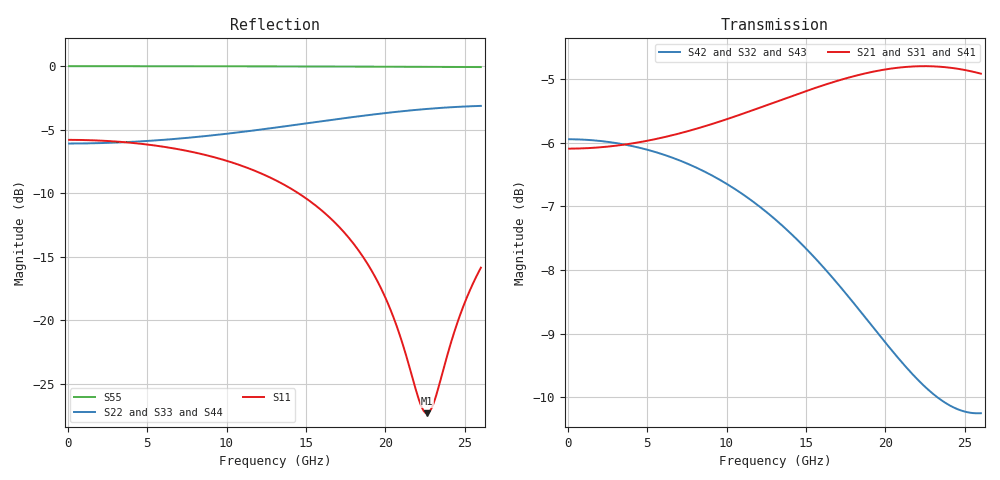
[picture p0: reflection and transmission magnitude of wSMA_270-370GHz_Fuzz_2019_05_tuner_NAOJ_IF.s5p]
! Touchstone file exported from HFSS 2019.1.0
!  File:  D:/pgrimes/HFSS/Mixers/270-370GHz_wSMA_Fuzz_2019_05_tuner.aedt
!  Generated:  4:21:00 PM  Jun 19, 2019
!  Design:  270-370GHz
!  Project:  270-370GHz_wSMA_Fuzz_2019_05_tuner
!  Setup:  SetupIF
!  Solution:  Sweep
! Variables:
!  Area = 1.13097335529233
!  BackshortLength = 0.225mm
!  CPWGap = 4um
!  CPWLength = 1.5um
!  CPWWidth = 10um
!  CPWlineEndgap = 1.5um
!  CPWlineSidegap = 1.5um
!  CPWlineWidth = 6.5um
!  CPWlinelength = 6um
!  Cap = 0fF
!  CenterGap = 1.5um
!  ChipHeight = 0.082mm
!  ChipLength = 2.7105mm
!  ChipSlotDepth = 0.082mm
!  ChipSlotExtDepth = 0.1238mm
!  ChipSlotExtLen = 0.9375mm
!  ChipSlotExtLength = 0.6375mm
!  ChipSlotExtWidth = 0.25mm
!  ChipSlotFrontDepth = 0.082mm
!  ChipSlotFrontLength = 1.35525mm
!  ChipSlotFrontWidth = 0.25mm
!  ChipSlotLength = 2.7105mm
!  ChipSlotWidth = 0.34mm
!  ChipWidth = 0.33mm
!  FeedExtLength = 0um
!  FeedExtWidth = 10um
!  FeedLength = 63um
!  FeedWidth = 3.5um
!  GroundThick = 0.15um
!  InputLength = 270um
!  JunctionSize = 1.2um
!  Line1Length = 5.25um
!  Line2Length = 6um
!  PadWidth = 4.5um
!  Rj = 13.2629119243246ohm
!  Rn = 13.2629119243246ohm
!  RnA = 15ohm
!  Scap = 0fF
!  Sect3var = 2.25um
!  SiOlength = 150um
!  SiOstart = 50um
!  SiOthick = 0.35um
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# GHZ S DB R 50.000000
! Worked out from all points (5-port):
!   260 points, 100 MHz to 26 GHz, reference 50 ohm
!   strongest paths, dB at 100 MHz, 6.6 GHz, 13.1 GHz, 19.6 GHz, 26 GHz:
!     S21: -6.1, -5.9, -5.4, -4.9, -4.9
!     S31: -6.1, -5.9, -5.4, -4.9, -4.9
!     S41: -6.1, -5.9, -5.4, -4.9, -4.9
!     S42: -5.9, -6.2, -7.2, -9.0, -10.3
!     S32: -5.9, -6.2, -7.2, -9.0, -10.2
!     S43: -5.9, -6.2, -7.3, -9.1, -10.1
!   lowest |S11| = -27.3 dB at 22.6 GHz (marker M1), VSWR 1.09, Z = 53.1 - j3.12 ohm
!   |S11| at or under -10 dB: 14.51 GHz to end of sweep
